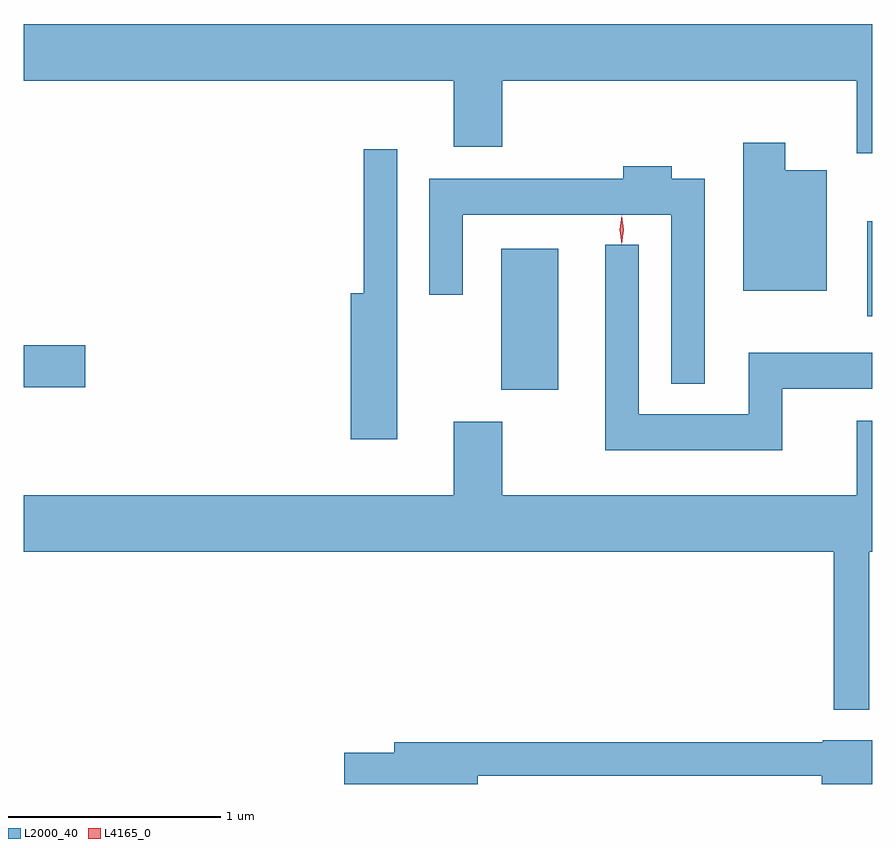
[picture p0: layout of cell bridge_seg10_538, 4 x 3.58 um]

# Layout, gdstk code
import gdstk
lib = gdstk.Library(unit=1e-6, precision=1e-09)
def R(c, l, rs):  # rectangles x0, y0, x1, y1
    for r in rs: c.add(gdstk.rectangle(r[:2], r[2:], *l))
def P(c, l, *ps):  # polygons
    for p in ps: c.add(gdstk.Polygon(p, *l))
L2000_40 = (2000, 40)
L4165_0 = (4165, 0)

bridge_seg10_538 = lib.new_cell('bridge_seg10_538')
R(bridge_seg10_538, L2000_40, [(788.396,2163.521,788.664,2164.184), (786.144,2163.531,786.434,2163.729), (790.121,2163.866,790.144,2164.314)])
P(bridge_seg10_538, L2000_40, [(790.144,2165.244),(786.144,2165.244),(786.144,2164.976),(788.171,2164.976),(788.171,2164.666),(788.399,2164.666),(788.399,2164.976),(790.071,2164.976),(790.071,2164.636),(790.144,2164.636)],
  [(789.929,2164.554),(789.734,2164.554),(789.734,2164.684),(789.536,2164.684),(789.536,2163.986),(789.929,2163.986)],
  [(787.904,2164.653),(787.746,2164.653),(787.746,2163.974),(787.686,2163.974),(787.686,2163.286),(787.904,2163.286)],
  [(789.354,2164.514),(789.199,2164.514),(789.199,2164.574),(788.971,2164.574),(788.971,2164.514),(788.056,2164.514),(788.056,2163.968),(788.214,2163.968),(788.214,2164.346),(789.196,2164.346),(789.196,2163.548),(789.354,2163.548)],
  [(789.719,2163.526),(790.144,2163.526),(790.144,2163.694),(789.561,2163.694),(789.561,2163.404),(789.044,2163.404),(789.044,2164.203),(788.886,2164.203),(788.886,2163.236),(789.719,2163.236)],
  [(790.129,2162.756),(790.144,2162.756),(790.144,2163.374),(790.071,2163.374),(790.071,2163.024),(788.399,2163.024),(788.399,2163.369),(788.171,2163.369),(788.171,2163.024),(786.144,2163.024),(786.144,2162.756),(789.961,2162.756),(789.961,2162.013),(790.129,2162.013)],
  [(788.284,2161.701),(789.906,2161.701),(789.906,2161.662),(790.144,2161.662),(790.144,2161.869),(789.91,2161.869),(789.91,2161.859),(787.891,2161.859),(787.891,2161.809),(787.656,2161.809),(787.656,2161.662),(788.284,2161.662)])
P(bridge_seg10_538, L4165_0, [(788.962,2164.207),(788.953,2164.274),(788.962,2164.34),(788.963,2164.34),(788.964,2164.34),(788.973,2164.274),(788.964,2164.207),(788.963,2164.207)])

lib.write_gds('bridge_seg10_538.gds')
